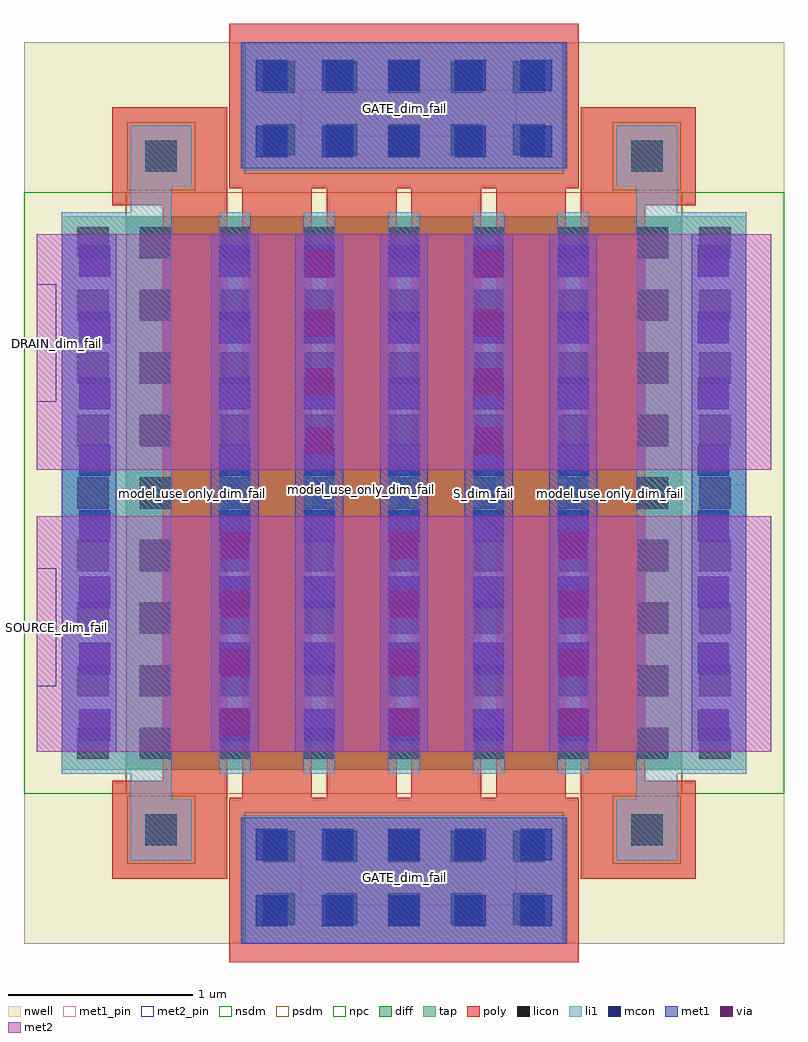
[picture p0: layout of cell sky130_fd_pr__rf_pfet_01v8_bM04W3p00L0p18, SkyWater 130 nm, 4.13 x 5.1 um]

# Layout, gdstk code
import gdstk
lib = gdstk.Library(unit=1e-6, precision=1e-09)
def R(c, l, rs):  # rectangles x0, y0, x1, y1
    for r in rs: c.add(gdstk.rectangle(r[:2], r[2:], *l))
def A(c, l, x, y, w, h, nx, ny, dx, dy):  # array of equal rectangles
    R(c, l, [(x+i*dx, y+j*dy, x+i*dx+w, y+j*dy+h) for i in range(nx) for j in range(ny)])
def P(c, l, *ps):  # polygons
    for p in ps: c.add(gdstk.Polygon(p, *l))
nwell = (64, 20)
diff = (65, 20)
tap = (65, 44)
poly = (66, 20)
licon = (66, 44)
li1 = (67, 20)
mcon = (67, 44)
met1_pin = (68, 16)
met1 = (68, 20)
via = (68, 44)
met2_pin = (69, 16)
met2 = (69, 20)
nsdm = (93, 44)
psdm = (94, 20)
npc = (95, 20)

sky130_fd_pr__rf_pfet_01 = lib.new_cell('sky130_fd_pr__rf_pfet_01v8_bM04W3p00L0p18')
R(sky130_fd_pr__rf_pfet_01, nwell, [(0,0,4.13,4.9)])
R(sky130_fd_pr__rf_pfet_01, diff, [(0.555,0.945,3.575,3.955)])
R(sky130_fd_pr__rf_pfet_01, tap, [(0.205,0.945,0.555,3.955), (3.575,0.945,3.925,3.955)])
P(sky130_fd_pr__rf_pfet_01, poly, [(0.48,0.355),(0.48,0.885),(0.755,0.885),(0.755,4.015),(0.48,4.015),(0.48,4.545),(1.105,4.545),(1.105,0.355)],
  [(3.025,0.355),(3.025,4.545),(3.65,4.545),(3.65,4.015),(3.375,4.015),(3.375,0.885),(3.65,0.885),(3.65,0.355)],
  [(1.115,-0.1),(1.115,0.795),(1.185,0.795),(1.185,4.105),(1.565,4.105),(1.565,0.795),(1.645,0.795),(1.645,4.105),(2.025,4.105),(2.025,0.795),(2.105,0.795),(2.105,4.105),(2.485,4.105),(2.485,0.795),(2.565,0.795),(2.565,4.105),(1.115,4.105),(1.115,5),(3.015,5),(3.015,4.105),(2.945,4.105),(2.945,0.795),(3.015,0.795),(3.015,-0.1)])
A(sky130_fd_pr__rf_pfet_01, licon, 1.3, 0.105, 0.17, 0.17, 5, 2, 0.34, 0.34)
A(sky130_fd_pr__rf_pfet_01, licon, 0.29, 1.005, 0.17, 0.17, 1, 9, 0, 0.34)
A(sky130_fd_pr__rf_pfet_01, licon, 0.63, 1.005, 0.17, 0.17, 1, 9, 0, 0.34)
A(sky130_fd_pr__rf_pfet_01, licon, 1.06, 1.005, 0.17, 0.17, 5, 9, 0.46, 0.34)
A(sky130_fd_pr__rf_pfet_01, licon, 3.33, 1.005, 0.17, 0.17, 1, 9, 0, 0.34)
A(sky130_fd_pr__rf_pfet_01, licon, 3.67, 1.005, 0.17, 0.17, 1, 9, 0, 0.34)
A(sky130_fd_pr__rf_pfet_01, licon, 1.3, 4.285, 0.17, 0.17, 5, 2, 0.34, 0.34)
R(sky130_fd_pr__rf_pfet_01, licon, [(0.66,0.535,0.83,0.705), (3.3,0.535,3.47,0.705), (0.66,4.195,0.83,4.365), (3.3,4.195,3.47,4.365)])
A(sky130_fd_pr__rf_pfet_01, li1, 1.06, 0.925, 0.17, 3.05, 5, 1, 0.46, 0)
A(sky130_fd_pr__rf_pfet_01, li1, 1.06, 1.105, 0.17, 2.69, 5, 1, 0.46, 0)
R(sky130_fd_pr__rf_pfet_01, li1, [(1.19,0,2.94,0.695), (0.58,0.455,0.91,0.785), (3.22,0.455,3.55,0.785), (0.58,0.785,0.8,0.925), (3.33,0.785,3.55,0.925), (0.205,0.925,0.8,3.975), (3.33,0.925,3.925,3.975), (0.58,3.975,0.8,4.115), (3.33,3.975,3.55,4.115), (0.58,4.115,0.91,4.445), (3.22,4.115,3.55,4.445), (1.19,4.205,2.94,4.9)])
A(sky130_fd_pr__rf_pfet_01, mcon, 1.26, 0.095, 0.17, 0.17, 5, 2, 0.36, 0.36)
A(sky130_fd_pr__rf_pfet_01, mcon, 0.3, 1.105, 0.17, 0.17, 1, 8, 0, 0.36)
A(sky130_fd_pr__rf_pfet_01, mcon, 1.06, 1.105, 0.17, 0.17, 5, 8, 0.46, 0.36)
A(sky130_fd_pr__rf_pfet_01, mcon, 3.66, 1.105, 0.17, 0.17, 1, 8, 0, 0.36)
A(sky130_fd_pr__rf_pfet_01, mcon, 1.26, 4.275, 0.17, 0.17, 5, 2, 0.36, 0.36)
R(sky130_fd_pr__rf_pfet_01, met1_pin, [(1.505,0.21,2.675,0.46), (0.205,2.33,0.5,2.48), (3.63,2.345,3.925,2.495), (1.505,4.39,2.675,4.64)])
A(sky130_fd_pr__rf_pfet_01, met1, 1.015, 1.045, 0.26, 2.81, 5, 1, 0.46, 0)
A(sky130_fd_pr__rf_pfet_01, met1, 1.015, 1.045, 0.26, 1.28, 3, 1, 0.92, 0)
R(sky130_fd_pr__rf_pfet_01, met1, [(1.18,0,2.95,0.685), (0.205,1.045,0.5,3.855), (3.63,1.045,3.925,3.855), (1.475,2.575,1.735,3.855), (2.395,2.575,2.655,3.855), (1.18,4.215,2.95,4.9)])
A(sky130_fd_pr__rf_pfet_01, via, 1.07, 1.13, 0.15, 0.15, 3, 4, 0.92, 0.32)
A(sky130_fd_pr__rf_pfet_01, via, 1.53, 2.66, 0.15, 0.15, 1, 4, 0, 0.32)
A(sky130_fd_pr__rf_pfet_01, via, 2.45, 2.66, 0.15, 0.15, 1, 4, 0, 0.32)
R(sky130_fd_pr__rf_pfet_01, met2_pin, [(0.07,1.4,0.175,2.04), (0.07,2.945,0.175,3.585)])
A(sky130_fd_pr__rf_pfet_01, met2, 1.015, 1.045, 0.26, 1.28, 3, 1, 0.92, 0)
R(sky130_fd_pr__rf_pfet_01, met2, [(0.07,1.045,4.06,2.325), (0.07,2.575,4.06,3.855), (1.475,2.575,1.735,3.855), (2.395,2.575,2.655,3.855)])
R(sky130_fd_pr__rf_pfet_01, nsdm, [(0,0.815,0.555,4.085), (3.575,0.815,4.13,4.085)])
R(sky130_fd_pr__rf_pfet_01, psdm, [(0.555,0.815,3.575,4.085)])
R(sky130_fd_pr__rf_pfet_01, npc, [(1.2,0,2.93,0.715), (0.56,0.435,0.93,0.805), (3.2,0.435,3.57,0.805), (0.56,4.095,0.93,4.465), (3.2,4.095,3.57,4.465), (1.2,4.185,2.93,4.9)])
sky130_fd_pr__rf_pfet_01.add(gdstk.Label('GATE_dim_fail', (2.065,0.36), layer=68, texttype=5))
sky130_fd_pr__rf_pfet_01.add(gdstk.Label('GATE_dim_fail', (2.065,4.54), layer=68, texttype=5))
sky130_fd_pr__rf_pfet_01.add(gdstk.Label('model_use_only_dim_fail', (3.185,2.45), layer=66, texttype=83))
sky130_fd_pr__rf_pfet_01.add(gdstk.Label('model_use_only_dim_fail', (0.915,2.45), layer=66, texttype=83))
sky130_fd_pr__rf_pfet_01.add(gdstk.Label('model_use_only_dim_fail', (1.835,2.47), layer=66, texttype=83))
sky130_fd_pr__rf_pfet_01.add(gdstk.Label('model_use_only_dim_fail', (2.26,2.49), layer=66, texttype=83))
sky130_fd_pr__rf_pfet_01.add(gdstk.Label('model_use_only_dim_fail', (2.75,2.505), layer=66, texttype=83))
sky130_fd_pr__rf_pfet_01.add(gdstk.Label('model_use_only_dim_fail', (1.36,2.47), layer=66, texttype=83))
sky130_fd_pr__rf_pfet_01.add(gdstk.Label('BULK_dim_fail', (0.315,2.41), layer=68, texttype=16))
sky130_fd_pr__rf_pfet_01.add(gdstk.Label('BULK_dim_fail', (3.74,2.425), layer=68, texttype=16))
sky130_fd_pr__rf_pfet_01.add(gdstk.Label('dummy_poly_dim_fail', (3.185,2.44), layer=83, texttype=44))
sky130_fd_pr__rf_pfet_01.add(gdstk.Label('dummy_poly_dim_fail', (0.92,2.435), layer=83, texttype=44))
sky130_fd_pr__rf_pfet_01.add(gdstk.Label('S_dim_fail', (1.205,2.45), layer=83, texttype=44))
sky130_fd_pr__rf_pfet_01.add(gdstk.Label('S_dim_fail', (1.635,2.45), layer=83, texttype=44))
sky130_fd_pr__rf_pfet_01.add(gdstk.Label('S_dim_fail', (2.065,2.45), layer=83, texttype=44))
sky130_fd_pr__rf_pfet_01.add(gdstk.Label('S_dim_fail', (2.495,2.45), layer=83, texttype=44))
sky130_fd_pr__rf_pfet_01.add(gdstk.Label('S_dim_fail', (1.205,2.45), layer=83, texttype=44))
sky130_fd_pr__rf_pfet_01.add(gdstk.Label('D_dim_fail', (1.635,2.45), layer=83, texttype=44))
sky130_fd_pr__rf_pfet_01.add(gdstk.Label('S_dim_fail', (2.065,2.45), layer=83, texttype=44))
sky130_fd_pr__rf_pfet_01.add(gdstk.Label('D_dim_fail', (2.495,2.45), layer=83, texttype=44))
sky130_fd_pr__rf_pfet_01.add(gdstk.Label('S_dim_fail', (2.925,2.45), layer=83, texttype=44))
sky130_fd_pr__rf_pfet_01.add(gdstk.Label('SOURCE_dim_fail', (0.175,1.72), layer=69, texttype=5))
sky130_fd_pr__rf_pfet_01.add(gdstk.Label('DRAIN_dim_fail', (0.175,3.265), layer=69, texttype=5))

lib.write_gds('sky130_fd_pr__rf_pfet_01v8_bM04W3p00L0p18.gds')
